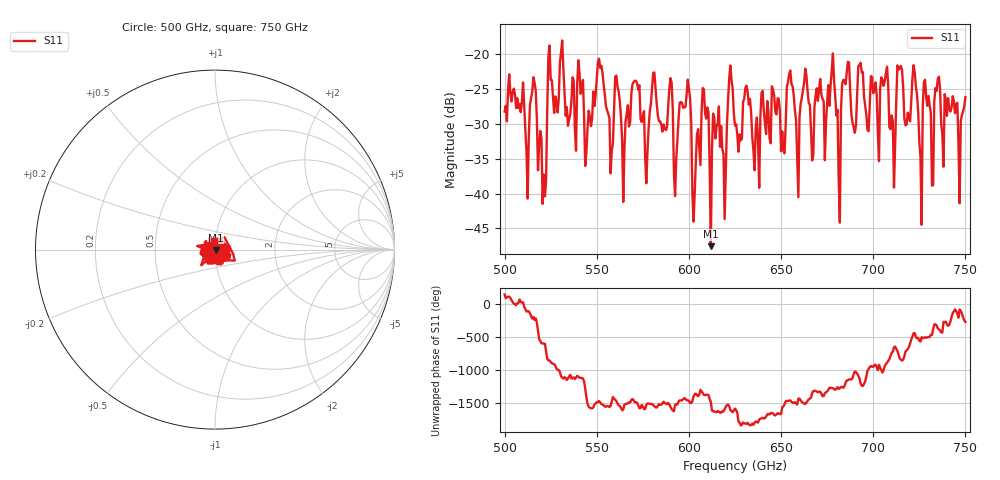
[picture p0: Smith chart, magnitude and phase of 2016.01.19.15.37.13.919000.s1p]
!Created with skrf (http://scikit-rf.org).
# GHz S RI R 50.0
!freq ReS11 ImS11
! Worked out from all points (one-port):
!   401 points, 500 GHz to 750 GHz, reference 50 ohm
!   lowest |S11| = -47.6 dB at 611.9 GHz (marker M1), VSWR 1.01, Z = 50.3 - j0.258 ohm
!   |S11| at or under -10 dB: start of sweep to end of sweep
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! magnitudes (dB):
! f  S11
! 500 GHz  -28.2
! 512.5 GHz  -40.7
! 515.6 GHz  -23.3
! 521.2 GHz  -37.3
! 524.4 GHz  -18.7
! 531.2 GHz  -18.0
! 544.4 GHz  -34.0
! 551.9 GHz  -21.9
! 557.5 GHz  -37.1
! 562.5 GHz  -26.7
! 590 GHz  -23.4
! 593.8 GHz  -32.3
! 599.4 GHz  -23.6
! 602.5 GHz  -44.0
! 608.1 GHz  -25.0
! 611.9 GHz  -47.6
! 625 GHz  -30.2
! 651.2 GHz  -33.7
! 656.2 GHz  -24.6
! 658.8 GHz  -34.8
! 678.1 GHz  -19.9
! 681.2 GHz  -37.9
! 687.5 GHz  -25.2
! 706.9 GHz  -22.7
! 710.6 GHz  -29.6
! 714.4 GHz  -22.0
! 718.8 GHz  -28.4
! 750 GHz  -26.1
